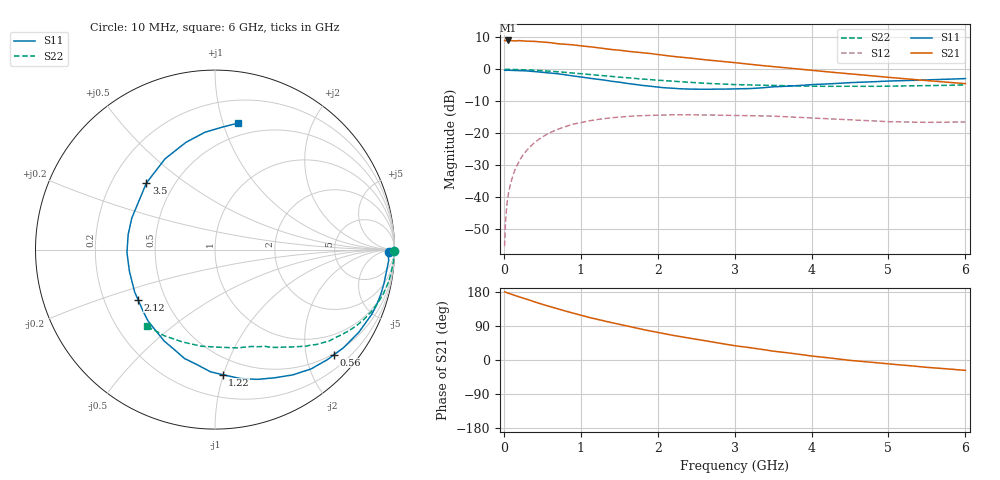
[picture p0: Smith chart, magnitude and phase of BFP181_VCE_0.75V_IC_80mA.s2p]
! Infineon Technologies  Discrete & RF Semiconductors
! BFP181
! VCE = 0.75V,  IC =  80 mA
! Common Emitter S-Parameters:  Jan 2016
# GHz  S  MA  R  50
!  f  S11  S21  S12  S22
! GHz  MAG  ANG  MAG  ANG  MAG  ANG  MAG  ANG
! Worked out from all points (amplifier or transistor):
!   210 points, 10 MHz to 6 GHz, reference 50 ohm
!   highest |S21| = 9.1 dB at 50 MHz (marker M1)
!   |S21| within 3 dB of that: start of sweep to 1.48 GHz
!   unconditionally stable (mu >= 1): 2.998 GHz to end of sweep
!   at 185 MHz: K = 0.07, MSG = 19.2 dB, |S12| = -29.4 dB
!   at 1.52 GHz: K = 0.54, MSG = 10.4 dB, |S12| = -14.9 dB
!   at 6 GHz: K = 1.47, MAG = 1.9 dB, |S12| = -16.5 dB
!   S11 on the Smith chart (normalised r, x): 10 MHz: 50, -24; 560 MHz: 0.48, -2.57; 1.22 GHz: 0.37, -0.99; 2.12 GHz: 0.35, -0.26; 3.5 GHz: 0.35, +0.36; 6 GHz: 0.39, +1.13
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0.01  0.9682 -0.9  2.834 179.7  0.0017 89.3  0.9983 -0.3
0.015  0.9661 -1.1  2.817 179.6  0.0026 86.8  0.9979 -0.5
0.025  0.9649 -1.8  2.805 178.9  0.0046 86.4  0.9974 -1.0
0.05  0.9698 -3.5  2.835 176.7  0.0096 88.0  0.9967 -1.9
0.115  0.9617 -8.7  2.804 172.4  0.0212 83.5  0.995 -4.4
0.22  0.9544 -16.6  2.806 165.2  0.0401 78.6  0.9883 -8.3
0.4  0.9242 -29.9  2.742 153.3  0.0714 69.8  0.9694 -14.9
0.56  0.885 -41.4  2.642 143.3  0.096 61.6  0.9429 -20.4
0.8  0.822 -58.1  2.48 129.2  0.1269 51.1  0.8976 -27.9
1.02  0.7544 -73.2  2.322 117.1  0.1486 42.3  0.8491 -34.0
1.22  0.6983 -86.5  2.179 107.2  0.1642 34.8  0.8103 -39.1
1.6  0.6029 -111.7  1.924 89.5  0.1835 24.0  0.7413 -46.5
1.8  0.5602 -125.9  1.823 80.6  0.1886 19.1  0.7046 -50.1
2.02  0.5243 -140.6  1.7 72.0  0.1921 13.9  0.6736 -53.6
2.12  0.5117 -147.0  1.639 68.2  0.1931 11.7  0.661 -55.4
2.46  0.4892 -169.3  1.484 56.0  0.194 5.0  0.6214 -60.9
2.8  0.491 170.3  1.349 44.3  0.1919 -0.2  0.5933 -65.9
3.1  0.4962 154.4  1.236 35.2  0.1886 -4.5  0.5731 -70.8
3.5  0.5328 135.8  1.107 23.4  0.1851 -8.8  0.5614 -77.3
4.1  0.583 115.9  0.94 8.4  0.1711 -13.6  0.5433 -89.4
5.1  0.6605 93.2  0.732 -12.0  0.1508 -15.8  0.546 -111.5
6  0.7173 79.5  0.597 -27.4  0.1499 -11.9  0.5711 -131.8
